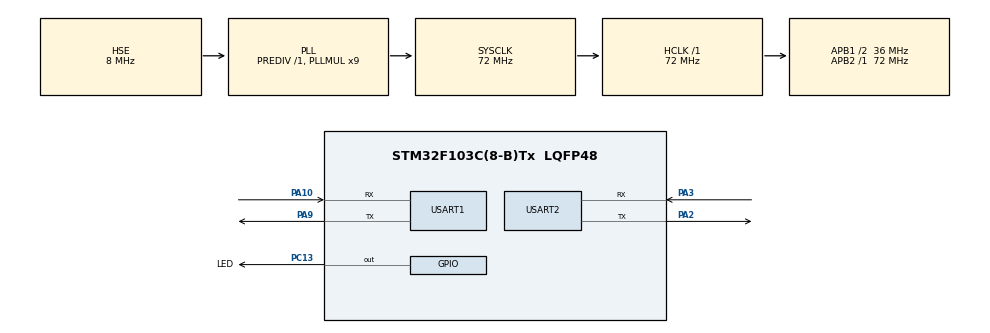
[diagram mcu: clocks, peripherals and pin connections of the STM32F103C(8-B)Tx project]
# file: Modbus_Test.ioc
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Dma.Request0=USART1_TX
Dma.Request1=USART2_TX
Dma.USART1_TX.0.Direction=DMA_MEMORY_TO_PERIPH
Dma.USART1_TX.0.Instance=DMA1_Channel4
Dma.USART1_TX.0.MemDataAlignment=DMA_MDATAALIGN_BYTE
Dma.USART1_TX.0.MemInc=DMA_MINC_ENABLE
Dma.USART1_TX.0.Mode=DMA_NORMAL
Dma.USART1_TX.0.PeriphDataAlignment=DMA_PDATAALIGN_BYTE
Dma.USART1_TX.0.PeriphInc=DMA_PINC_DISABLE
Dma.USART1_TX.0.Priority=DMA_PRIORITY_HIGH
Dma.USART2_TX.1.Direction=DMA_MEMORY_TO_PERIPH
Dma.USART2_TX.1.Instance=DMA1_Channel7
Dma.USART2_TX.1.MemDataAlignment=DMA_MDATAALIGN_BYTE
Dma.USART2_TX.1.MemInc=DMA_MINC_ENABLE
Dma.USART2_TX.1.Mode=DMA_NORMAL
Dma.USART2_TX.1.PeriphDataAlignment=DMA_PDATAALIGN_BYTE
Dma.USART2_TX.1.PeriphInc=DMA_PINC_DISABLE
Dma.USART2_TX.1.Priority=DMA_PRIORITY_HIGH
FREERTOS.Tasks01=ModbusTask,24,512,StartModbusTask,Default,NULL,Dynamic,NULL,NULL;ModbusTask2,8,512,StartModbusTask2,Default,NULL,Dynamic,NULL,NULL
FREERTOS.configMINIMAL_STACK_SIZE=512
FREERTOS.configTOTAL_HEAP_SIZE=8192
FREERTOS.configUSE_NEWLIB_REENTRANT=1
Mcu.Family=STM32F1
Mcu.Name=STM32F103C(8-B)Tx
Mcu.Package=LQFP48
NVIC.DMA1_Channel4_IRQn=true\:5\:0\:false\:false\:true\:true\:false\:true\:true
NVIC.DMA1_Channel7_IRQn=true\:5\:0\:false\:false\:true\:true\:false\:true\:true
NVIC.PriorityGroup=NVIC_PRIORITYGROUP_4
NVIC.TIM4_IRQn=true\:15\:0\:false\:false\:true\:false\:false\:true\:true
NVIC.TimeBase=TIM4_IRQn
NVIC.TimeBaseIP=TIM4
NVIC.USART1_IRQn=true\:5\:0\:false\:false\:true\:true\:true\:true\:true
NVIC.USART2_IRQn=true\:5\:0\:false\:false\:true\:true\:true\:true\:true
PA10.Mode=Asynchronous
PA10.Signal=USART1_RX
PA13.Mode=Trace_Asynchronous_SW
PA13.Signal=SYS_JTMS-SWDIO
PA14.Mode=Trace_Asynchronous_SW
PA14.Signal=SYS_JTCK-SWCLK
PA2.Mode=Asynchronous
PA2.Signal=USART2_TX
PA3.Mode=Asynchronous
PA3.Signal=USART2_RX
PA9.Mode=Asynchronous
PA9.Signal=USART1_TX
PB3.Mode=Trace_Asynchronous_SW
PB3.Signal=SYS_JTDO-TRACESWO
PC13-TAMPER-RTC.GPIO_Label=LED
PC13-TAMPER-RTC.GPIO_Speed=GPIO_SPEED_FREQ_HIGH
PC13-TAMPER-RTC.Signal=GPIO_Output
PD0-OSC_IN.Mode=HSE-External-Oscillator
PD0-OSC_IN.Signal=RCC_OSC_IN
PD1-OSC_OUT.Mode=HSE-External-Oscillator
PD1-OSC_OUT.Signal=RCC_OSC_OUT
ProjectManager.HeapSize=0x200
ProjectManager.StackSize=0x400
ProjectManager.TargetToolchain=STM32CubeIDE
RCC.AHBFreq_Value=72000000
RCC.APB1CLKDivider=RCC_HCLK_DIV2
RCC.APB1Freq_Value=36000000
RCC.APB1TimFreq_Value=72000000
RCC.APB2Freq_Value=72000000
RCC.APB2TimFreq_Value=72000000
RCC.HCLKFreq_Value=72000000
RCC.PLLMUL=RCC_PLL_MUL9
RCC.PLLSourceVirtual=RCC_PLLSOURCE_HSE
RCC.SYSCLKFreq_VALUE=72000000
RCC.SYSCLKSource=RCC_SYSCLKSOURCE_PLLCLK
RCC.USBFreq_Value=72000000
USART1.VirtualMode=VM_ASYNC
USART2.VirtualMode=VM_ASYNC
VP_FREERTOS_VS_CMSIS_V2.Mode=CMSIS_V2
VP_SYS_VS_tim4.Mode=TIM4
board=custom

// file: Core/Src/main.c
/* USER CODE BEGIN Header */
/**
  ******************************************************************************
  * @file           : main.c
  * @brief          : Main program body
  ******************************************************************************
  * @attention
  *
  * Copyright (c) 2024 STMicroelectronics.
  * All rights reserved.
  *
  * This software is licensed under terms that can be found in the LICENSE file
  * in the root directory of this software component.
  * If no LICENSE file comes with this software, it is provided AS-IS.
  *
  ******************************************************************************
  */
/* USER CODE END Header */
#include "main.h"
#include "cmsis_os.h"

/* USER CODE BEGIN Includes */
#include "Modbus.h"
/* USER CODE END Includes */

UART_HandleTypeDef huart1;
UART_HandleTypeDef huart2;
DMA_HandleTypeDef hdma_usart1_tx;
DMA_HandleTypeDef hdma_usart2_tx;

/* Definitions for ModbusTask */
osThreadId_t ModbusTaskHandle;
const osThreadAttr_t ModbusTask_attributes = {
  .name = "ModbusTask",
  .stack_size = 512 * 4,
  .priority = (osPriority_t) osPriorityNormal,
};
/* Definitions for ModbusTask2 */
osThreadId_t ModbusTask2Handle;
const osThreadAttr_t ModbusTask2_attributes = {
  .name = "ModbusTask2",
  .stack_size = 512 * 4,
  .priority = (osPriority_t) osPriorityLow,
};
/* USER CODE BEGIN PV */
modbus *ctx;
modbus *ctx2;
/* USER CODE END PV */

void SystemClock_Config(void);
static void MX_GPIO_Init(void);
static void MX_DMA_Init(void);
static void MX_USART1_UART_Init(void);
static void MX_USART2_UART_Init(void);
void StartModbusTask(void *argument);
void StartModbusTask2(void *argument);

/* USER CODE BEGIN 0 */
uint8_t dataRX;
uint8_t dataRX2;
/* USER CODE END 0 */

int main(void)
{

  /* MCU Configuration--------------------------------------------------------*/

  /* Reset of all peripherals, Initializes the Flash interface and the Systick. */
  HAL_Init();

  /* Configure the system clock */
  SystemClock_Config();

  /* Initialize all configured peripherals */
  MX_GPIO_Init();
  MX_DMA_Init();
  MX_USART1_UART_Init();
  MX_USART2_UART_Init();

  /* Init scheduler */
  osKernelInitialize();

  /* Create the thread(s) */
  /* creation of ModbusTask */
  ModbusTaskHandle = osThreadNew(StartModbusTask, NULL, &ModbusTask_attributes);

  /* creation of ModbusTask2 */
  ModbusTask2Handle = osThreadNew(StartModbusTask2, NULL, &ModbusTask2_attributes);

  /* Start scheduler */
  osKernelStart();

  /* We should never get here as control is now taken by the scheduler */

  /* Infinite loop */
  while (1)
  {

  }
}

void SystemClock_Config(void)
{
  RCC_OscInitTypeDef RCC_OscInitStruct = {0};
  RCC_ClkInitTypeDef RCC_ClkInitStruct = {0};

  /** Initializes the RCC Oscillators according to the specified parameters
  * in the RCC_OscInitTypeDef structure.
  */
  RCC_OscInitStruct.OscillatorType = RCC_OSCILLATORTYPE_HSE;
  RCC_OscInitStruct.HSEState = RCC_HSE_ON;
  RCC_OscInitStruct.HSEPredivValue = RCC_HSE_PREDIV_DIV1;
  RCC_OscInitStruct.HSIState = RCC_HSI_ON;
  RCC_OscInitStruct.PLL.PLLState = RCC_PLL_ON;
  RCC_OscInitStruct.PLL.PLLSource = RCC_PLLSOURCE_HSE;
  RCC_OscInitStruct.PLL.PLLMUL = RCC_PLL_MUL9;
  if (HAL_RCC_OscConfig(&RCC_OscInitStruct) != HAL_OK)
  {
    Error_Handler();
  }

  /** Initializes the CPU, AHB and APB buses clocks
  */
  RCC_ClkInitStruct.ClockType = RCC_CLOCKTYPE_HCLK|RCC_CLOCKTYPE_SYSCLK
                              |RCC_CLOCKTYPE_PCLK1|RCC_CLOCKTYPE_PCLK2;
  RCC_ClkInitStruct.SYSCLKSource = RCC_SYSCLKSOURCE_PLLCLK;
  RCC_ClkInitStruct.AHBCLKDivider = RCC_SYSCLK_DIV1;
  RCC_ClkInitStruct.APB1CLKDivider = RCC_HCLK_DIV2;
  RCC_ClkInitStruct.APB2CLKDivider = RCC_HCLK_DIV1;

  if (HAL_RCC_ClockConfig(&RCC_ClkInitStruct, FLASH_LATENCY_2) != HAL_OK)
  {
    Error_Handler();
  }
}

static void MX_USART1_UART_Init(void)
{

  huart1.Instance = USART1;
  huart1.Init.BaudRate = 115200;
  huart1.Init.WordLength = UART_WORDLENGTH_8B;
  huart1.Init.StopBits = UART_STOPBITS_1;
  huart1.Init.Parity = UART_PARITY_NONE;
  huart1.Init.Mode = UART_MODE_TX_RX;
  huart1.Init.HwFlowCtl = UART_HWCONTROL_NONE;
  huart1.Init.OverSampling = UART_OVERSAMPLING_16;
  if (HAL_UART_Init(&huart1) != HAL_OK)
  {
    Error_Handler();
  }

}

static void MX_USART2_UART_Init(void)
{

  huart2.Instance = USART2;
  huart2.Init.BaudRate = 115200;
  huart2.Init.WordLength = UART_WORDLENGTH_8B;
  huart2.Init.StopBits = UART_STOPBITS_1;
  huart2.Init.Parity = UART_PARITY_NONE;
  huart2.Init.Mode = UART_MODE_TX_RX;
  huart2.Init.HwFlowCtl = UART_HWCONTROL_NONE;
  huart2.Init.OverSampling = UART_OVERSAMPLING_16;
  if (HAL_UART_Init(&huart2) != HAL_OK)
  {
    Error_Handler();
  }

}

static void MX_DMA_Init(void)
{

  /* DMA controller clock enable */
  __HAL_RCC_DMA1_CLK_ENABLE();

  /* DMA interrupt init */
  /* DMA1_Channel4_IRQn interrupt configuration */
  HAL_NVIC_SetPriority(DMA1_Channel4_IRQn, 5, 0);
  HAL_NVIC_EnableIRQ(DMA1_Channel4_IRQn);
  /* DMA1_Channel7_IRQn interrupt configuration */
  HAL_NVIC_SetPriority(DMA1_Channel7_IRQn, 5, 0);
  HAL_NVIC_EnableIRQ(DMA1_Channel7_IRQn);

}

static void MX_GPIO_Init(void)
{
  GPIO_InitTypeDef GPIO_InitStruct = {0};

  /* GPIO Ports Clock Enable */
  __HAL_RCC_GPIOC_CLK_ENABLE();
  __HAL_RCC_GPIOD_CLK_ENABLE();
  __HAL_RCC_GPIOA_CLK_ENABLE();
  __HAL_RCC_GPIOB_CLK_ENABLE();

  /*Configure GPIO pin Output Level */
  HAL_GPIO_WritePin(LED_GPIO_Port, LED_Pin, GPIO_PIN_RESET);

  /*Configure GPIO pin : LED_Pin */
  GPIO_InitStruct.Pin = LED_Pin;
  GPIO_InitStruct.Mode = GPIO_MODE_OUTPUT_PP;
  GPIO_InitStruct.Pull = GPIO_NOPULL;
  GPIO_InitStruct.Speed = GPIO_SPEED_FREQ_HIGH;
  HAL_GPIO_Init(LED_GPIO_Port, &GPIO_InitStruct);

}

void StartModbusTask(void *argument)
{
  /* USER CODE BEGIN 5 */
	uint8_t req[180];
	int rc;
	ctx = NULL;
	ctx = pvPortMalloc(sizeof(ctx));
	ctx->mSem = osSemaphoreNew(1, 0, NULL);
	ctx->response_timeout = 200;
	ctx->slaveID = 2;
	HAL_UART_Receive_IT(&huart1, &dataRX, 1);
	//memset(ctx->Holding_Regs,0,MAX_ADRESS*2);

	ctx->mbUart = &huart1;
//	for (int i=0;i<=32;i++)
//	{
//		ctx->Holding_Regs[i] = 0;
//	}
	ctx->Holding_Regs[0] = 0x55AA;
	// Создаем структуру модбас регистров
	uint8_t dat[5] = {1,2,3,4,5};
  /* Infinite loop */
  for(;;)
  {
	rc = Modbus_Recieve(ctx);
	ctx->Holding_Regs[1]++;
  }
  /* USER CODE END 5 */
}

void StartModbusTask2(void *argument)
{
  /* USER CODE BEGIN StartModbusTask2 */
	int rc;
	ctx2 = NULL;
	ctx2 = pvPortMalloc(sizeof(ctx2));
	ctx2->mSem = osSemaphoreNew(1, 0, NULL);
	ctx2->response_timeout = 200;
	ctx2->slaveID = 3;
	HAL_UART_Receive_IT(&huart2, &dataRX2, 1);
	ctx2->mbUart = &huart2;
	ctx2->Holding_Regs[0] = 0x3344;
  /* Infinite loop */
  for(;;)
  {
	  rc = Modbus_Recieve(ctx2);
	  ctx2->Holding_Regs[2]++;
  }
  /* USER CODE END StartModbusTask2 */
}

void HAL_TIM_PeriodElapsedCallback(TIM_HandleTypeDef *htim)
{
  if (htim->Instance == TIM4) {
    HAL_IncTick();
  }
}

void Error_Handler(void)
{
  __disable_irq();
  while (1)
  {
  }
}
